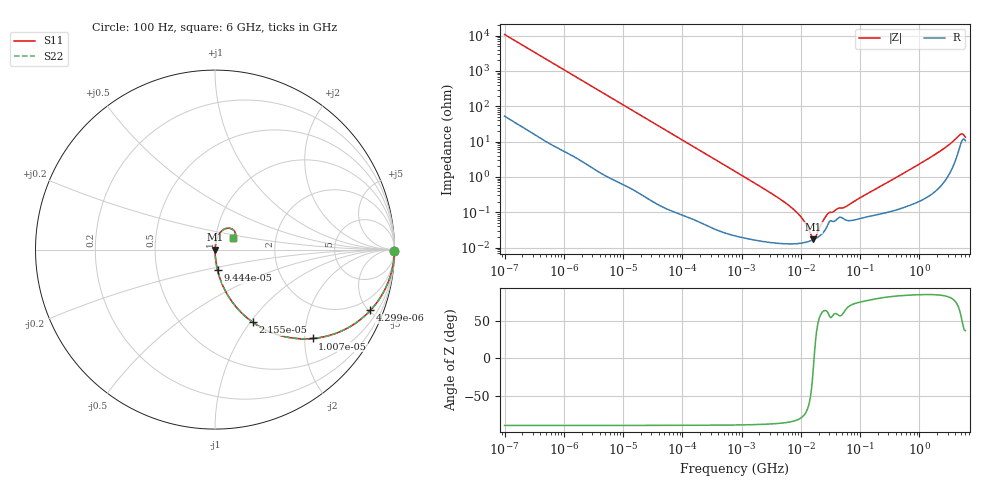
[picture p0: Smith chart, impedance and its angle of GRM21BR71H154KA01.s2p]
!Murata Part Number: GRM21BR71H154KA01
!These Parameters are Measured in Series Mode Connection
!Data Generated on Mar 30, 2021
!  o--ll--o
!Port1  Port2
!  o------o
!Operation Temp=25[degC], DC Bias Voltage=0[V]
!Freq. Start=100[Hz] Stop=6[GHz] 401[Steps]
# Hz S RI R 50
!Freq.(Hz) S11(Real) S11(Imag) S21(Real) S21(Imag) S12(Real) S12(Imag) S22(Real) S22(Imag)
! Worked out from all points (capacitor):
!   401 points, 100 Hz to 6 GHz, reference 50 ohm
!   read as one part in series: C = 146 nF near 109 Hz
!   lowest |Z| = 17.2 mohm at 16.27 MHz (marker M1)
!   series resonance near 16.75 MHz, so ESL is about 620 pH
!   S11 on the Smith chart (normalised r, x): 100 Hz: open; 4.299 kHz: 1.03, -5.11; 10.07 kHz: 1.01, -2.19; 21.55 kHz: 1.01, -1.02; 94.44 kHz: 1.00, -0.23; 6 GHz: 1.21, +0.16
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100  0.9999 -0.00921  0.00013 0.00921  0.00013 0.00921  0.9999 -0.00921
600  0.9967 -0.0547  0.00326 0.0547  0.00326 0.0547  0.9967 -0.0547
2008  0.9667 -0.177  0.0333 0.177  0.0333 0.177  0.9667 -0.177
4299  0.8659 -0.3383  0.1341 0.3383  0.1341 0.3383  0.8659 -0.3383
10066  0.5445 -0.4953  0.4555 0.4953  0.4555 0.4953  0.5445 -0.4953
21550  0.2094 -0.404  0.7906 0.404  0.7906 0.404  0.2094 -0.404
40335  0.0713 -0.2544  0.9287 0.2544  0.9287 0.2544  0.0713 -0.2544
94437  0.0144 -0.1157  0.9856 0.1157  0.9856 0.1157  0.0144 -0.1157
774597  0.000423 -0.0144  0.9996 0.0144  0.9996 0.0144  0.000423 -0.0144
3394479  0.000146 -0.00319  0.9999 0.00319  0.9999 0.00319  0.000146 -0.00319
6948629  0.000129 -0.00136  0.9999 0.00136  0.9999 0.00136  0.000129 -0.00136
1.087309e7  0.000136 -0.000609  0.9999 0.000609  0.9999 0.000609  0.000136 -0.000609
1.555665e7  0.000162 -0.000102  0.9998 0.000102  0.9998 0.000102  0.000162 -0.000102
1.626902e7  0.000168 -4.03e-05  0.9998 4.03e-05  0.9998 4.03e-05  0.000168 -4.03e-05
1.779312e7  0.000181 8.39e-05  0.9998 -8.39e-05  0.9998 -8.39e-05  0.000181 8.39e-05
2.327686e7  0.000253 0.000477  0.9997 -0.000477  0.9997 -0.000477  0.000253 0.000477
2.911731e7  0.000474 0.000814  0.9995 -0.000814  0.9995 -0.000814  0.000474 0.000814
5.699437e7  0.000609 0.00129  0.9994 -0.00129  0.9994 -0.00129  0.000609 0.00129
3.124326e8  0.00108 0.00742  0.9989 -0.00742  0.9989 -0.00742  0.00108 0.00742
1.873145e9  0.00582 0.0435  0.9942 -0.0435  0.9942 -0.0435  0.00582 0.0435
4.796499e9  0.0794 0.1195  0.9206 -0.1195  0.9206 -0.1195  0.0794 0.1195
6e9  0.1014 0.065  0.8986 -0.065  0.8986 -0.065  0.1014 0.065
